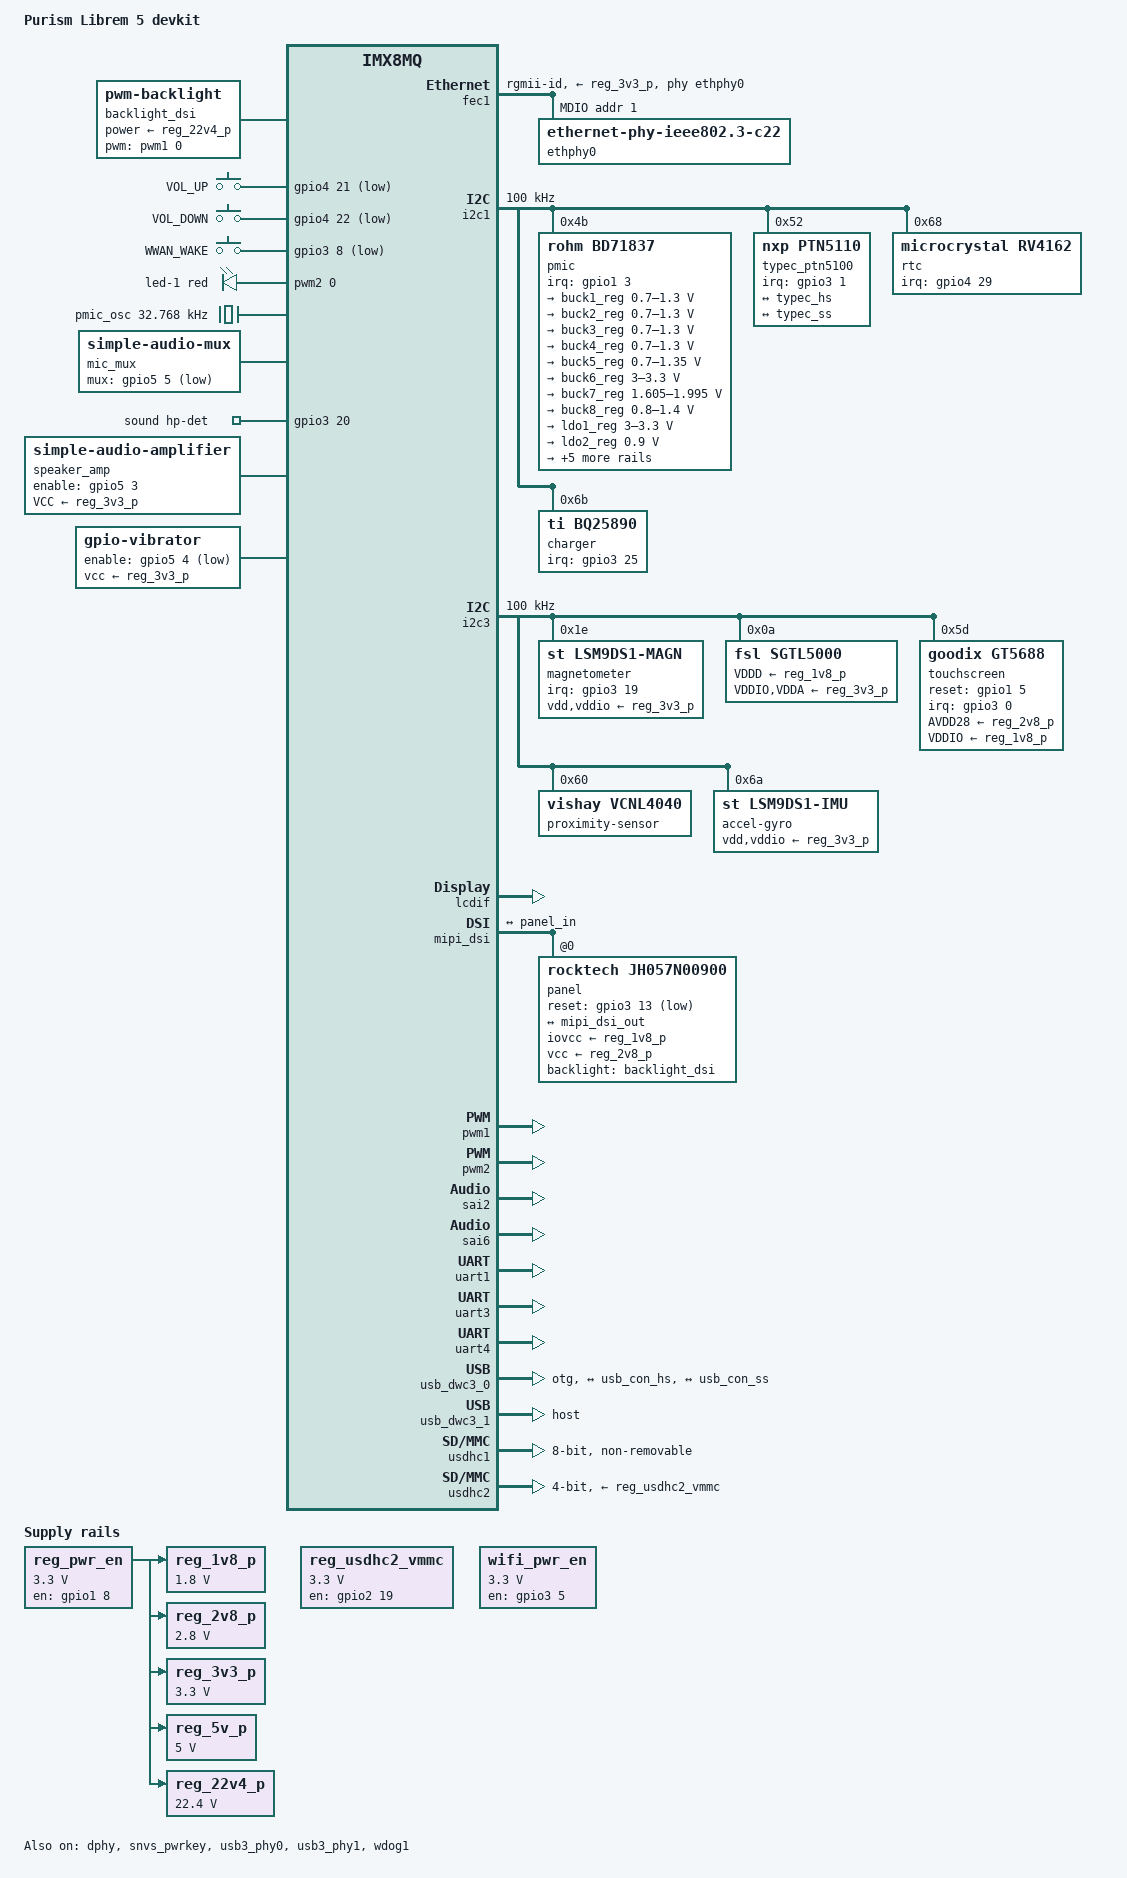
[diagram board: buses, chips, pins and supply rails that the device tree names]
// SPDX-License-Identifier: GPL-2.0+
/*
 * Copyright 2018-2019 Purism SPC
 */

/dts-v1/;

#include "dt-bindings/input/input.h"
#include <dt-bindings/interrupt-controller/irq.h>
#include <dt-bindings/leds/common.h>
#include "dt-bindings/pwm/pwm.h"
#include "dt-bindings/usb/pd.h"
#include "imx8mq.dtsi"

/ {
	model = "Purism Librem 5 devkit";
	compatible = "purism,librem5-devkit", "fsl,imx8mq";

	backlight_dsi: backlight-dsi {
		compatible = "pwm-backlight";
		/* 200 Hz for the PAM2841 */
		pwms = <&pwm1 0 5000000 0>;
		brightness-levels = <0 100>;
		num-interpolated-steps = <100>;
		/* Default brightness level (index into the array defined by */
		/* the "brightness-levels" property) */
		default-brightness-level = <0>;
		power-supply = <&reg_22v4_p>;
	};

	chosen {
		stdout-path = &uart1;
	};

	gpio-keys {
		compatible = "gpio-keys";
		pinctrl-names = "default";
		pinctrl-0 = <&pinctrl_gpio_keys>;

		button-1 {
			label = "VOL_UP";
			gpios = <&gpio4 21 GPIO_ACTIVE_LOW>;
			wakeup-source;
			linux,code = <KEY_VOLUMEUP>;
		};

		button-2 {
			label = "VOL_DOWN";
			gpios = <&gpio4 22 GPIO_ACTIVE_LOW>;
			wakeup-source;
			linux,code = <KEY_VOLUMEDOWN>;
		};

		button-3 {
			label = "WWAN_WAKE";
			gpios = <&gpio3 8 GPIO_ACTIVE_LOW>;
			interrupt-parent = <&gpio3>;
			interrupts = <8 IRQ_TYPE_LEVEL_LOW>;
			wakeup-source;
			linux,code = <KEY_PHONE>;
		};
	};

	leds {
		compatible = "pwm-leds";

		led-1 {
			function = LED_FUNCTION_STATUS;
			color = <LED_COLOR_ID_RED>;
			max-brightness = <248>;
			pwms = <&pwm2 0 50000 0>;
		};
	};

	pmic_osc: clock-pmic {
		compatible = "fixed-clock";
		#clock-cells = <0>;
		clock-frequency = <32768>;
		clock-output-names = "pmic_osc";
	};

	reg_1v8_p: regulator-1v8-p {
		compatible = "regulator-fixed";
		regulator-name = "1v8_p";
		regulator-min-microvolt = <1800000>;
		regulator-max-microvolt = <1800000>;
		vin-supply = <&reg_pwr_en>;
	};

	reg_2v8_p: regulator-2v8-p {
		compatible = "regulator-fixed";
		regulator-name = "2v8_p";
		regulator-min-microvolt = <2800000>;
		regulator-max-microvolt = <2800000>;
		vin-supply = <&reg_pwr_en>;
	};

	reg_3v3_p: regulator-3v3-p {
		compatible = "regulator-fixed";
		regulator-name = "3v3_p";
		regulator-min-microvolt = <3300000>;
		regulator-max-microvolt = <3300000>;
		vin-supply = <&reg_pwr_en>;

		regulator-state-mem {
			regulator-on-in-suspend;
		};
	};

	reg_5v_p: regulator-5v-p {
		compatible = "regulator-fixed";
		regulator-name = "5v_p";
		regulator-min-microvolt = <5000000>;
		regulator-max-microvolt = <5000000>;
		vin-supply = <&reg_pwr_en>;

		regulator-state-mem {
			regulator-on-in-suspend;
		};
	};

	reg_22v4_p: regulator-22v4-p  {
		compatible = "regulator-fixed";
		regulator-name = "22v4_P";
		regulator-min-microvolt = <22400000>;
		regulator-max-microvolt = <22400000>;
		vin-supply = <&reg_pwr_en>;
	};

	reg_pwr_en: regulator-pwr-en {
		compatible = "regulator-fixed";
		pinctrl-names = "default";
		pinctrl-0 = <&pinctrl_pwr_en>;
		regulator-name = "PWR_EN";
		regulator-min-microvolt = <3300000>;
		regulator-max-microvolt = <3300000>;
		gpio = <&gpio1 8 GPIO_ACTIVE_HIGH>;
		enable-active-high;
		regulator-always-on;
	};

	reg_usdhc2_vmmc: regulator-usdhc2-vmmc {
		compatible = "regulator-fixed";
		pinctrl-names = "default";
		pinctrl-0 = <&pinctrl_usdhc2_pwr>;
		regulator-name = "VSD_3V3";
		regulator-min-microvolt = <3300000>;
		regulator-max-microvolt = <3300000>;
		gpio = <&gpio2 19 GPIO_ACTIVE_HIGH>;
		enable-active-high;
		regulator-always-on;
	};

	wwan_codec: sound-wwan-codec {
		compatible = "option,gtm601";
		#sound-dai-cells = <0>;
	};

	mic_mux: mic-mux {
		compatible = "simple-audio-mux";
		pinctrl-names = "default";
		pinctrl-0 = <&pinctrl_micsel>;
		mux-gpios = <&gpio5 5 GPIO_ACTIVE_LOW>;
		sound-name-prefix = "Mic Mux";
	};

	sound {
		compatible = "simple-audio-card";
		pinctrl-names = "default";
		pinctrl-0 = <&pinctrl_hpdet>;
		simple-audio-card,aux-devs = <&speaker_amp>, <&mic_mux>;
		simple-audio-card,name = "Librem 5 Devkit";
		simple-audio-card,format = "i2s";
		simple-audio-card,widgets =
			"Microphone", "Builtin Microphone",
			"Microphone", "Headset Microphone",
			"Headphone", "Headphones",
			"Speaker", "Builtin Speaker";
		simple-audio-card,routing =
			"MIC_IN", "Mic Mux OUT",
			"Mic Mux IN1", "Headset Microphone",
			"Mic Mux IN2", "Builtin Microphone",
			"Mic Mux OUT", "Mic Bias",
			"Headphones", "HP_OUT",
			"Builtin Speaker", "Speaker Amp OUTR",
			"Speaker Amp INR", "LINE_OUT";
		simple-audio-card,hp-det-gpio = <&gpio3 20 GPIO_ACTIVE_HIGH>;

		simple-audio-card,cpu {
			sound-dai = <&sai2>;
		};

		simple-audio-card,codec {
			sound-dai = <&sgtl5000>;
			clocks = <&clk IMX8MQ_CLK_SAI2_ROOT>;
			frame-master;
			bitclock-master;
		};
	};

	sound-wwan {
		compatible = "simple-audio-card";
		simple-audio-card,name = "SIMCom SIM7100";
		simple-audio-card,format = "dsp_a";

		simple-audio-card,cpu {
			sound-dai = <&sai6>;
		};

		telephony_link_master: simple-audio-card,codec {
			sound-dai = <&wwan_codec>;
			frame-master;
			bitclock-master;
		};
	};

	speaker_amp: speaker-amp {
		compatible = "simple-audio-amplifier";
		pinctrl-names = "default";
		pinctrl-0 = <&pinctrl_spkamp>;
		VCC-supply = <&reg_3v3_p>;
		sound-name-prefix = "Speaker Amp";
		enable-gpios = <&gpio5 3 GPIO_ACTIVE_HIGH>;
	};

	vibrator {
		compatible = "gpio-vibrator";
		pinctrl-names = "default";
		pinctrl-0 = <&pinctrl_haptic>;
	        enable-gpios = <&gpio5 4 GPIO_ACTIVE_LOW>;
		vcc-supply = <&reg_3v3_p>;
	};

	wifi_pwr_en: regulator-wifi-en {
		compatible = "regulator-fixed";
		pinctrl-names = "default";
		pinctrl-0 = <&pinctrl_wifi_pwr_en>;
		regulator-name = "WIFI_EN";
		regulator-min-microvolt = <3300000>;
		regulator-max-microvolt = <3300000>;
		gpio = <&gpio3 5 GPIO_ACTIVE_HIGH>;
		enable-active-high;
		regulator-always-on;
	};
};

&A53_0 {
	cpu-supply = <&buck2_reg>;
};

&A53_1 {
	cpu-supply = <&buck2_reg>;
};

&A53_2 {
	cpu-supply = <&buck2_reg>;
};

&A53_3 {
	cpu-supply = <&buck2_reg>;
};

&dphy {
	status = "okay";
};

&fec1 {
	pinctrl-names = "default";
	pinctrl-0 = <&pinctrl_fec1>;
	phy-mode = "rgmii-id";
	phy-handle = <&ethphy0>;
	fsl,magic-packet;
	phy-supply = <&reg_3v3_p>;
	status = "okay";

	mdio {
		#address-cells = <1>;
		#size-cells = <0>;

		ethphy0: ethernet-phy@1 {
			compatible = "ethernet-phy-ieee802.3-c22";
			reg = <1>;
		};
	};
};

&i2c1 {
	clock-frequency = <100000>;
	pinctrl-names = "default";
	pinctrl-0 = <&pinctrl_i2c1>;
	status = "okay";

	pmic: pmic@4b {
		compatible = "rohm,bd71837";
		reg = <0x4b>;
		pinctrl-names = "default";
		pinctrl-0 = <&pinctrl_pmic>;
		clocks = <&pmic_osc>;
		clock-names = "osc";
		#clock-cells = <0>;
		clock-output-names = "pmic_clk";
		interrupt-parent = <&gpio1>;
		interrupts = <3 IRQ_TYPE_LEVEL_LOW>;
		rohm,reset-snvs-powered;

		regulators {
			buck1_reg: BUCK1 {
				regulator-name = "buck1";
				regulator-min-microvolt = <700000>;
				regulator-max-microvolt = <1300000>;
				regulator-boot-on;
				regulator-always-on;
				regulator-ramp-delay = <1250>;
				rohm,dvs-run-voltage = <900000>;
				rohm,dvs-idle-voltage = <850000>;
				rohm,dvs-suspend-voltage = <800000>;
			};

			buck2_reg: BUCK2 {
				regulator-name = "buck2";
				regulator-min-microvolt = <700000>;
				regulator-max-microvolt = <1300000>;
				regulator-boot-on;
				regulator-ramp-delay = <1250>;
				rohm,dvs-run-voltage = <1000000>;
				rohm,dvs-idle-voltage = <900000>;
			};

			buck3_reg: BUCK3 {
				regulator-name = "buck3";
				regulator-min-microvolt = <700000>;
				regulator-max-microvolt = <1300000>;
				regulator-boot-on;
				rohm,dvs-run-voltage = <900000>;
			};

			buck4_reg: BUCK4 {
				regulator-name = "buck4";
				regulator-min-microvolt = <700000>;
				regulator-max-microvolt = <1300000>;
				rohm,dvs-run-voltage = <1000000>;
			};

			buck5_reg: BUCK5 {
				regulator-name = "buck5";
				regulator-min-microvolt = <700000>;
				regulator-max-microvolt = <1350000>;
				regulator-boot-on;
				regulator-always-on;
			};

			buck6_reg: BUCK6 {
				regulator-name = "buck6";
				regulator-min-microvolt = <3000000>;
				regulator-max-microvolt = <3300000>;
				regulator-boot-on;
				regulator-always-on;
			};

			buck7_reg: BUCK7 {
				regulator-name = "buck7";
				regulator-min-microvolt = <1605000>;
				regulator-max-microvolt = <1995000>;
				regulator-boot-on;
				regulator-always-on;
			};

			buck8_reg: BUCK8 {
				regulator-name = "buck8";
				regulator-min-microvolt = <800000>;
				regulator-max-microvolt = <1400000>;
				regulator-boot-on;
				regulator-always-on;
			};

			ldo1_reg: LDO1 {
				regulator-name = "ldo1";
				regulator-min-microvolt = <3000000>;
				regulator-max-microvolt = <3300000>;
				regulator-boot-on;
				/* leave on for snvs power button */
				regulator-always-on;
			};

			ldo2_reg: LDO2 {
				regulator-name = "ldo2";
				regulator-min-microvolt = <900000>;
				regulator-max-microvolt = <900000>;
				regulator-boot-on;
				/* leave on for snvs power button */
				regulator-always-on;
			};

			ldo3_reg: LDO3 {
				regulator-name = "ldo3";
				regulator-min-microvolt = <1800000>;
				regulator-max-microvolt = <3300000>;
				regulator-boot-on;
				regulator-always-on;
			};

			ldo4_reg: LDO4 {
				regulator-name = "ldo4";
				regulator-min-microvolt = <900000>;
				regulator-max-microvolt = <1800000>;
				regulator-boot-on;
				regulator-always-on;
			};

			ldo5_reg: LDO5 {
				regulator-name = "ldo5";
				regulator-min-microvolt = <1800000>;
				regulator-max-microvolt = <3300000>;
				regulator-always-on;
			};

			ldo6_reg: LDO6 {
				regulator-name = "ldo6";
				regulator-min-microvolt = <900000>;
				regulator-max-microvolt = <1800000>;
				regulator-boot-on;
				regulator-always-on;
			};

			ldo7_reg: LDO7 {
				regulator-name = "ldo7";
				regulator-min-microvolt = <1800000>;
				regulator-max-microvolt = <3300000>;
				regulator-boot-on;
				regulator-always-on;
			};
		};
	};

	typec_ptn5100: usb-typec@52 {
		compatible = "nxp,ptn5110";
		reg = <0x52>;
		pinctrl-names = "default";
		pinctrl-0 = <&pinctrl_typec>;
		interrupt-parent = <&gpio3>;
		interrupts = <1 IRQ_TYPE_LEVEL_LOW>;

		connector {
			compatible = "usb-c-connector";
			label = "USB-C";
			data-role = "dual";
			power-role = "dual";
			try-power-role = "sink";
			source-pdos = <PDO_FIXED(5000, 2000,
				PDO_FIXED_USB_COMM |
				PDO_FIXED_DUAL_ROLE |
				PDO_FIXED_DATA_SWAP )>;
			sink-pdos = <PDO_FIXED(5000, 3500, PDO_FIXED_USB_COMM |
				PDO_FIXED_DUAL_ROLE |
				PDO_FIXED_DATA_SWAP )
			     PDO_VAR(5000, 5000, 3500)>;
			op-sink-microwatt = <10000000>;

			ports {
				#address-cells = <1>;
				#size-cells = <0>;

				port@0 {
					reg = <0>;

					usb_con_hs: endpoint {
						remote-endpoint = <&typec_hs>;
					};
				};

				port@1 {
					reg = <1>;

					usb_con_ss: endpoint {
						remote-endpoint = <&typec_ss>;
					};
				};
			};
		};
	};

	rtc@68 {
		compatible = "microcrystal,rv4162";
		reg = <0x68>;
		pinctrl-names = "default";
		pinctrl-0 = <&pinctrl_rtc>;
		interrupt-parent = <&gpio4>;
		interrupts = <29 IRQ_TYPE_LEVEL_LOW>;
	};

	charger@6b { /* bq25896 */
		compatible = "ti,bq25890";
		reg = <0x6b>;
		pinctrl-names = "default";
		pinctrl-0 = <&pinctrl_charger>;
		interrupt-parent = <&gpio3>;
		interrupts = <25 IRQ_TYPE_EDGE_FALLING>;
		ti,battery-regulation-voltage = <4192000>; /* 4.192V */
		ti,charge-current = <1600000>; /* 1.6A */
		ti,termination-current = <66000>;  /* 66mA */
		ti,precharge-current = <130000>; /* 130mA */
		ti,minimum-sys-voltage = <3000000>; /* 3V */
		ti,boost-voltage = <5000000>; /* 5V */
		ti,boost-max-current = <50000>; /* 50mA */
	};
};

&i2c3 {
	clock-frequency = <100000>;
	pinctrl-names = "default";
	pinctrl-0 = <&pinctrl_i2c3>;
	status = "okay";

	magnetometer@1e	{
		compatible = "st,lsm9ds1-magn";
		reg = <0x1e>;
		pinctrl-names = "default";
		pinctrl-0 = <&pinctrl_imu>;
		interrupt-parent = <&gpio3>;
		interrupts = <19 IRQ_TYPE_LEVEL_HIGH>;
		vdd-supply = <&reg_3v3_p>;
		vddio-supply = <&reg_3v3_p>;
	};

	sgtl5000: audio-codec@a {
		compatible = "fsl,sgtl5000";
		clocks = <&clk IMX8MQ_CLK_SAI2_ROOT>;
		assigned-clocks = <&clk IMX8MQ_CLK_SAI2>;
		assigned-clock-parents = <&clk IMX8MQ_AUDIO_PLL1_OUT>;
		assigned-clock-rates = <24576000>;
		#sound-dai-cells = <0>;
		reg = <0x0a>;
		VDDD-supply = <&reg_1v8_p>;
		VDDIO-supply = <&reg_3v3_p>;
		VDDA-supply = <&reg_3v3_p>;
	};

	touchscreen@5d {
		compatible = "goodix,gt5688";
		reg = <0x5d>;
		pinctrl-names = "default";
		pinctrl-0 = <&pinctrl_ts>;
		interrupt-parent = <&gpio3>;
		interrupts = <0 IRQ_TYPE_LEVEL_LOW>;
		reset-gpios = <&gpio1 5 GPIO_ACTIVE_HIGH>;
		irq-gpios = <&gpio3 0 GPIO_ACTIVE_HIGH>;
		touchscreen-size-x = <720>;
		touchscreen-size-y = <1440>;
		AVDD28-supply = <&reg_2v8_p>;
		VDDIO-supply = <&reg_1v8_p>;
	};

	proximity-sensor@60 {
		compatible = "vishay,vcnl4040";
		reg = <0x60>;
		pinctrl-0 = <&pinctrl_prox>;
	};

	accel-gyro@6a {
		compatible = "st,lsm9ds1-imu";
		reg = <0x6a>;
		vdd-supply = <&reg_3v3_p>;
		vddio-supply = <&reg_3v3_p>;
		mount-matrix = "1",  "0",  "0",
			       "0",  "1",  "0",
			       "0",  "0", "-1";
	};
};

&iomuxc {
	pinctrl_bl: blgrp {
		fsl,pins = <
			MX8MQ_IOMUXC_GPIO1_IO01_PWM1_OUT	0x6 /* DSI_BL_PWM */
		>;
	};

	pinctrl_bt: btgrp {
		fsl,pins = <
			MX8MQ_IOMUXC_NAND_DATA05_GPIO3_IO11	0x16 /* nBT_DISABLE */
			MX8MQ_IOMUXC_NAND_DATA01_GPIO3_IO7	0x10 /* BT_HOST_WAKE */
		>;
	};

	pinctrl_charger: chargergrp {
		fsl,pins = <
			MX8MQ_IOMUXC_SAI5_MCLK_GPIO3_IO25	0x80 /* CHRG_nINT */
		>;
	};

	pinctrl_fec1: fec1grp {
		fsl,pins = <
			MX8MQ_IOMUXC_ENET_MDC_ENET1_MDC			0x3
			MX8MQ_IOMUXC_ENET_MDIO_ENET1_MDIO		0x3
			MX8MQ_IOMUXC_ENET_TD3_ENET1_RGMII_TD3		0x1f
			MX8MQ_IOMUXC_ENET_TD2_ENET1_RGMII_TD2		0x1f
			MX8MQ_IOMUXC_ENET_TD1_ENET1_RGMII_TD1		0x1f
			MX8MQ_IOMUXC_ENET_TD0_ENET1_RGMII_TD0		0x1f
			MX8MQ_IOMUXC_ENET_RD3_ENET1_RGMII_RD3		0x91
			MX8MQ_IOMUXC_ENET_RD2_ENET1_RGMII_RD2		0x91
			MX8MQ_IOMUXC_ENET_RD1_ENET1_RGMII_RD1		0x91
			MX8MQ_IOMUXC_ENET_RD0_ENET1_RGMII_RD0		0x91
			MX8MQ_IOMUXC_ENET_TXC_ENET1_RGMII_TXC		0x1f
			MX8MQ_IOMUXC_ENET_RXC_ENET1_RGMII_RXC		0x91
			MX8MQ_IOMUXC_ENET_RX_CTL_ENET1_RGMII_RX_CTL	0x91
			MX8MQ_IOMUXC_ENET_TX_CTL_ENET1_RGMII_TX_CTL	0x1f
			MX8MQ_IOMUXC_GPIO1_IO09_GPIO1_IO9		0x19
			MX8MQ_IOMUXC_GPIO1_IO15_CCMSRCGPCMIX_CLKO2      0x1f
		>;
	};

	pinctrl_ts: tsgrp {
		fsl,pins = <
			MX8MQ_IOMUXC_NAND_ALE_GPIO3_IO0		0x16  /* TOUCH INT */
			MX8MQ_IOMUXC_GPIO1_IO05_GPIO1_IO5	0x19  /* TOUCH RST */
		>;
	};

	pinctrl_pwm_led: pwmledgrp {
		fsl,pins = <
			MX8MQ_IOMUXC_GPIO1_IO13_PWM2_OUT	0x16
		>;
	};

	pinctrl_gpio_keys: gpiokeygrp {
		fsl,pins = <
			MX8MQ_IOMUXC_SAI2_RXFS_GPIO4_IO21	0x16
			MX8MQ_IOMUXC_SAI2_RXC_GPIO4_IO22	0x16
			MX8MQ_IOMUXC_NAND_DATA02_GPIO3_IO8	0x80   /* nWoWWAN */
		>;
	};

	pinctrl_haptic: hapticgrp {
		fsl,pins = <
			MX8MQ_IOMUXC_SPDIF_RX_GPIO5_IO4		0xc6   /* nHAPTIC */
		>;
	};

	pinctrl_hpdet: hpdetgrp {
		fsl,pins = <
			MX8MQ_IOMUXC_SAI5_RXC_GPIO3_IO20	0xC0   /* HP_DET */
		>;
	};

	pinctrl_i2c1: i2c1grp {
		fsl,pins = <
			MX8MQ_IOMUXC_I2C1_SCL_I2C1_SCL		0x4000001f
			MX8MQ_IOMUXC_I2C1_SDA_I2C1_SDA		0x4000001f
		>;
	};

	pinctrl_i2c3: i2c3grp {
		fsl,pins = <
			MX8MQ_IOMUXC_I2C3_SCL_I2C3_SCL		0x4000001f
			MX8MQ_IOMUXC_I2C3_SDA_I2C3_SDA		0x4000001f
		>;
	};

	pinctrl_imu: imugrp {
		fsl,pins = <
			MX8MQ_IOMUXC_SAI5_RXFS_GPIO3_IO19	0x8  /* IMU_INT */
		>;
	};

	pinctrl_micsel: micselgrp {
		fsl,pins = <
			MX8MQ_IOMUXC_SPDIF_EXT_CLK_GPIO5_IO5	0xc6  /* MIC_SEL */
		>;
	};

	pinctrl_spkamp: spkampgrp {
		fsl,pins = <
			MX8MQ_IOMUXC_SPDIF_TX_GPIO5_IO3		0x81  /* MUTE */
		>;
	};

	pinctrl_pmic: pmicgrp {
		fsl,pins = <
			MX8MQ_IOMUXC_GPIO1_IO03_GPIO1_IO3	0x80  /* PMIC intr */
		>;
	};

	pinctrl_prox: proxgrp {
		fsl,pins = <
			MX8MQ_IOMUXC_GPIO1_IO12_GPIO1_IO12	0x80  /* prox intr */
		>;
	};

	pinctrl_pwr_en: pwrengrp {
		fsl,pins = <
			MX8MQ_IOMUXC_GPIO1_IO08_GPIO1_IO8	0x06
		>;
	};

	pinctrl_rtc: rtcgrp {
		fsl,pins = <
			MX8MQ_IOMUXC_SAI3_RXC_GPIO4_IO29	0x80  /* RTC intr */
		>;
	};

	pinctrl_sai2: sai2grp {
		fsl,pins = <
			MX8MQ_IOMUXC_SAI2_TXFS_SAI2_TX_SYNC	0xd6
			MX8MQ_IOMUXC_SAI2_TXC_SAI2_TX_BCLK	0xd6
			MX8MQ_IOMUXC_SAI2_TXD0_SAI2_TX_DATA0	0xd6
			MX8MQ_IOMUXC_SAI2_RXD0_SAI2_RX_DATA0	0xd6
			MX8MQ_IOMUXC_SAI2_MCLK_SAI2_MCLK	0xd6
		>;
	};

	pinctrl_sai6: sai6grp {
		fsl,pins = <
			MX8MQ_IOMUXC_SAI1_RXD5_SAI6_RX_DATA0	0xd6
			MX8MQ_IOMUXC_SAI1_RXD6_SAI6_RX_SYNC	0xd6
			MX8MQ_IOMUXC_SAI1_TXD4_SAI6_RX_BCLK     0xd6
			MX8MQ_IOMUXC_SAI1_TXD5_SAI6_TX_DATA0	0xd6
		>;
	};

	pinctrl_typec: typecgrp {
		fsl,pins = <
			MX8MQ_IOMUXC_NAND_DATA06_GPIO3_IO12		0x16
			MX8MQ_IOMUXC_NAND_CE0_B_GPIO3_IO1		0x80
		>;
	};

	pinctrl_uart1: uart1grp {
		fsl,pins = <
			MX8MQ_IOMUXC_UART1_RXD_UART1_DCE_RX		0x49
			MX8MQ_IOMUXC_UART1_TXD_UART1_DCE_TX		0x49
		>;
	};

	pinctrl_uart2: uart2grp {
		fsl,pins = <
			MX8MQ_IOMUXC_UART2_TXD_UART2_DCE_TX		0x49
			MX8MQ_IOMUXC_UART2_RXD_UART2_DCE_RX		0x49
			MX8MQ_IOMUXC_UART4_RXD_UART2_DCE_CTS_B		0x49
			MX8MQ_IOMUXC_UART4_TXD_UART2_DCE_RTS_B		0x49
		>;
	};

	pinctrl_uart3: uart3grp {
		fsl,pins = <
			MX8MQ_IOMUXC_UART3_RXD_UART3_DCE_RX		0x49
			MX8MQ_IOMUXC_UART3_TXD_UART3_DCE_TX		0x49
		>;
	};

	pinctrl_uart4: uart4grp {
		fsl,pins = <
			MX8MQ_IOMUXC_ECSPI2_SCLK_UART4_DCE_RX		0x49
			MX8MQ_IOMUXC_ECSPI2_MOSI_UART4_DCE_TX		0x49
			MX8MQ_IOMUXC_ECSPI2_MISO_UART4_DCE_CTS_B	0x49
			MX8MQ_IOMUXC_ECSPI2_SS0_UART4_DCE_RTS_B		0x49
			MX8MQ_IOMUXC_GPIO1_IO00_ANAMIX_REF_CLK_32K	0x49
		>;
	};

	pinctrl_usdhc1: usdhc1grp {
		fsl,pins = <
			MX8MQ_IOMUXC_SD1_CLK_USDHC1_CLK			0x83
			MX8MQ_IOMUXC_SD1_CMD_USDHC1_CMD			0xc3
			MX8MQ_IOMUXC_SD1_DATA0_USDHC1_DATA0		0xc3
			MX8MQ_IOMUXC_SD1_DATA1_USDHC1_DATA1		0xc3
			MX8MQ_IOMUXC_SD1_DATA2_USDHC1_DATA2		0xc3
			MX8MQ_IOMUXC_SD1_DATA3_USDHC1_DATA3		0xc3
			MX8MQ_IOMUXC_SD1_DATA4_USDHC1_DATA4		0xc3
			MX8MQ_IOMUXC_SD1_DATA5_USDHC1_DATA5		0xc3
			MX8MQ_IOMUXC_SD1_DATA6_USDHC1_DATA6		0xc3
			MX8MQ_IOMUXC_SD1_DATA7_USDHC1_DATA7		0xc3
			MX8MQ_IOMUXC_SD1_STROBE_USDHC1_STROBE		0x83
			MX8MQ_IOMUXC_SD1_RESET_B_USDHC1_RESET_B		0xc1
		>;
	};

	pinctrl_usdhc1_100mhz: usdhc1-100mhzgrp {
		fsl,pins = <
			MX8MQ_IOMUXC_SD1_CLK_USDHC1_CLK			0x8d
			MX8MQ_IOMUXC_SD1_CMD_USDHC1_CMD			0xcd
			MX8MQ_IOMUXC_SD1_DATA0_USDHC1_DATA0		0xcd
			MX8MQ_IOMUXC_SD1_DATA1_USDHC1_DATA1		0xcd
			MX8MQ_IOMUXC_SD1_DATA2_USDHC1_DATA2		0xcd
			MX8MQ_IOMUXC_SD1_DATA3_USDHC1_DATA3		0xcd
			MX8MQ_IOMUXC_SD1_DATA4_USDHC1_DATA4		0xcd
			MX8MQ_IOMUXC_SD1_DATA5_USDHC1_DATA5		0xcd
			MX8MQ_IOMUXC_SD1_DATA6_USDHC1_DATA6		0xcd
			MX8MQ_IOMUXC_SD1_DATA7_USDHC1_DATA7		0xcd
			MX8MQ_IOMUXC_SD1_STROBE_USDHC1_STROBE		0x8d
			MX8MQ_IOMUXC_SD1_RESET_B_USDHC1_RESET_B		0xc1
		>;
	};

	pinctrl_usdhc1_200mhz: usdhc1-200mhzgrp {
		fsl,pins = <
			MX8MQ_IOMUXC_SD1_CLK_USDHC1_CLK			0x9f
			MX8MQ_IOMUXC_SD1_CMD_USDHC1_CMD			0xdf
			MX8MQ_IOMUXC_SD1_DATA0_USDHC1_DATA0		0xdf
			MX8MQ_IOMUXC_SD1_DATA1_USDHC1_DATA1		0xdf
			MX8MQ_IOMUXC_SD1_DATA2_USDHC1_DATA2		0xdf
			MX8MQ_IOMUXC_SD1_DATA3_USDHC1_DATA3		0xdf
			MX8MQ_IOMUXC_SD1_DATA4_USDHC1_DATA4		0xdf
			MX8MQ_IOMUXC_SD1_DATA5_USDHC1_DATA5		0xdf
			MX8MQ_IOMUXC_SD1_DATA6_USDHC1_DATA6		0xdf
			MX8MQ_IOMUXC_SD1_DATA7_USDHC1_DATA7		0xdf
			MX8MQ_IOMUXC_SD1_STROBE_USDHC1_STROBE		0x9f
			MX8MQ_IOMUXC_SD1_RESET_B_USDHC1_RESET_B		0xc1
		>;
	};

	pinctrl_usdhc2_pwr: usdhc2pwrgrp {
		fsl,pins = <
			MX8MQ_IOMUXC_SD2_RESET_B_GPIO2_IO19	0x41
		>;
	};

	pinctrl_usdhc2_gpio: usdhc2gpiogrp {
		fsl,pins = <
			MX8MQ_IOMUXC_SD2_WP_GPIO2_IO20		0x80 /* WIFI_WAKE */
		>;
	};

	pinctrl_usdhc2: usdhc2grp {
		fsl,pins = <
			MX8MQ_IOMUXC_SD2_CLK_USDHC2_CLK		0x83
			MX8MQ_IOMUXC_SD2_CMD_USDHC2_CMD		0xc3
			MX8MQ_IOMUXC_SD2_DATA0_USDHC2_DATA0	0xc3
			MX8MQ_IOMUXC_SD2_DATA1_USDHC2_DATA1	0xc3
			MX8MQ_IOMUXC_SD2_DATA2_USDHC2_DATA2	0xc3
			MX8MQ_IOMUXC_SD2_DATA3_USDHC2_DATA3	0xc3
		>;
	};

	pinctrl_usdhc2_100mhz: usdhc2-100mhzgrp {
		fsl,pins = <
			MX8MQ_IOMUXC_SD2_CLK_USDHC2_CLK		0x8d
			MX8MQ_IOMUXC_SD2_CMD_USDHC2_CMD		0xcd
			MX8MQ_IOMUXC_SD2_DATA0_USDHC2_DATA0	0xcd
			MX8MQ_IOMUXC_SD2_DATA1_USDHC2_DATA1	0xcd
			MX8MQ_IOMUXC_SD2_DATA2_USDHC2_DATA2	0xcd
			MX8MQ_IOMUXC_SD2_DATA3_USDHC2_DATA3	0xcd
		>;
	};

	pinctrl_usdhc2_200mhz: usdhc2-200mhzgrp {
		fsl,pins = <
			MX8MQ_IOMUXC_SD2_CLK_USDHC2_CLK		0x9f
			MX8MQ_IOMUXC_SD2_CMD_USDHC2_CMD		0xcf
			MX8MQ_IOMUXC_SD2_DATA0_USDHC2_DATA0	0xcf
			MX8MQ_IOMUXC_SD2_DATA1_USDHC2_DATA1	0xcf
			MX8MQ_IOMUXC_SD2_DATA2_USDHC2_DATA2	0xcf
			MX8MQ_IOMUXC_SD2_DATA3_USDHC2_DATA3	0xcf
		>;
	};

	pinctrl_wdog: wdoggrp {
		fsl,pins = <
			MX8MQ_IOMUXC_GPIO1_IO02_WDOG1_WDOG_B	0xc6
		>;
	};

	pinctrl_wifi_pwr_en: wifipwrengrp {
		fsl,pins = <
			MX8MQ_IOMUXC_NAND_CLE_GPIO3_IO5         0x06
		>;
	};

	pinctrl_wwan: wwangrp {
		fsl,pins = <
			MX8MQ_IOMUXC_NAND_CE3_B_GPIO3_IO4	0x09 /* nWWAN_DISABLE */
			MX8MQ_IOMUXC_NAND_DATA02_GPIO3_IO8	0x80 /* nWoWWAN */
			MX8MQ_IOMUXC_NAND_DATA03_GPIO3_IO9	0x19 /* WWAN_RESET */
		>;
	};
};

&lcdif {
	status = "okay";
};

&mipi_dsi {
	status = "okay";
	#address-cells = <1>;
	#size-cells = <0>;

	panel@0 {
		compatible = "rocktech,jh057n00900";
		reg = <0>;
		backlight = <&backlight_dsi>;
		reset-gpios = <&gpio3 13 GPIO_ACTIVE_LOW>;
		iovcc-supply = <&reg_1v8_p>;
		vcc-supply = <&reg_2v8_p>;
		port {
			panel_in: endpoint {
				remote-endpoint = <&mipi_dsi_out>;
			};
		};
	};

	ports {
		port@1 {
			reg = <1>;
			mipi_dsi_out: endpoint {
				remote-endpoint = <&panel_in>;
			};
		};
	};
};

&pgc_gpu {
	power-supply = <&buck3_reg>;
};

&pgc_vpu {
	power-supply = <&buck4_reg>;
};

&pwm1 {
	pinctrl-names = "default";
	pinctrl-0 = <&pinctrl_bl>;
	status = "okay";
};

&pwm2 {
	pinctrl-names = "default";
	pinctrl-0 = <&pinctrl_pwm_led>;
	status = "okay";
};

&snvs_pwrkey {
	status = "okay";
};

&snvs_rtc {
	status = "disabled";
};

&sai2 {
	pinctrl-names = "default";
	pinctrl-0 = <&pinctrl_sai2>;
	assigned-clocks = <&clk IMX8MQ_CLK_SAI2>;
	assigned-clock-parents = <&clk IMX8MQ_AUDIO_PLL1_OUT>;
	assigned-clock-rates = <24576000>;
	status = "okay";
};

&sai6 {
	pinctrl-names = "default";
	pinctrl-0 = <&pinctrl_sai6>;
	assigned-clocks = <&clk IMX8MQ_CLK_SAI6>;
	assigned-clock-parents = <&clk IMX8MQ_AUDIO_PLL1_OUT>;
	assigned-clock-rates = <24576000>;
	fsl,sai-synchronous-rx;
	status = "okay";
};

&uart1 { /* console */
	pinctrl-names = "default";
	pinctrl-0 = <&pinctrl_uart1>;
	status = "okay";
};

&uart3 { /* GNSS */
	pinctrl-names = "default";
	pinctrl-0 = <&pinctrl_uart3>;
	status = "okay";
};

&uart4 { /* BT */
	pinctrl-names = "default";
	pinctrl-0 = <&pinctrl_uart4>, <&pinctrl_bt>;
	uart-has-rtscts;
	status = "okay";
};

&usb3_phy0 {
	vbus-supply = <&reg_5v_p>;
	status = "okay";
};

&usb3_phy1 {
	vbus-supply = <&reg_5v_p>;
	status = "okay";
};

&usb_dwc3_0 {
	#address-cells = <1>;
	#size-cells = <0>;
	dr_mode = "otg";
	status = "okay";

	port@0 {
		reg = <0>;

		typec_hs: endpoint {
			remote-endpoint = <&usb_con_hs>;
		};
	};

	port@1 {
		reg = <1>;

		typec_ss: endpoint {
			remote-endpoint = <&usb_con_ss>;
		};
	};
};

&usb_dwc3_1 {
	dr_mode = "host";
	status = "okay";
};

&usdhc1 {
	assigned-clocks = <&clk IMX8MQ_CLK_USDHC1>;
	assigned-clock-rates = <400000000>;
	pinctrl-names = "default", "state_100mhz", "state_200mhz";
	pinctrl-0 = <&pinctrl_usdhc1>;
	pinctrl-1 = <&pinctrl_usdhc1_100mhz>;
	pinctrl-2 = <&pinctrl_usdhc1_200mhz>;
	bus-width = <8>;
	non-removable;
	status = "okay";
};

&usdhc2 {
	assigned-clocks = <&clk IMX8MQ_CLK_USDHC2>;
	assigned-clock-rates = <200000000>;
	pinctrl-names = "default", "state_100mhz", "state_200mhz";
	pinctrl-0 = <&pinctrl_usdhc2>;
	pinctrl-1 = <&pinctrl_usdhc2_100mhz>;
	pinctrl-2 = <&pinctrl_usdhc2_200mhz>;
	bus-width = <4>;
	vmmc-supply = <&reg_usdhc2_vmmc>;
	power-supply = <&wifi_pwr_en>;
	broken-cd;
	disable-wp;
	cap-sdio-irq;
	keep-power-in-suspend;
	wakeup-source;
	status = "okay";
};

&wdog1 {
	pinctrl-names = "default";
	pinctrl-0 = <&pinctrl_wdog>;
	fsl,ext-reset-output;
	status = "okay";
};
